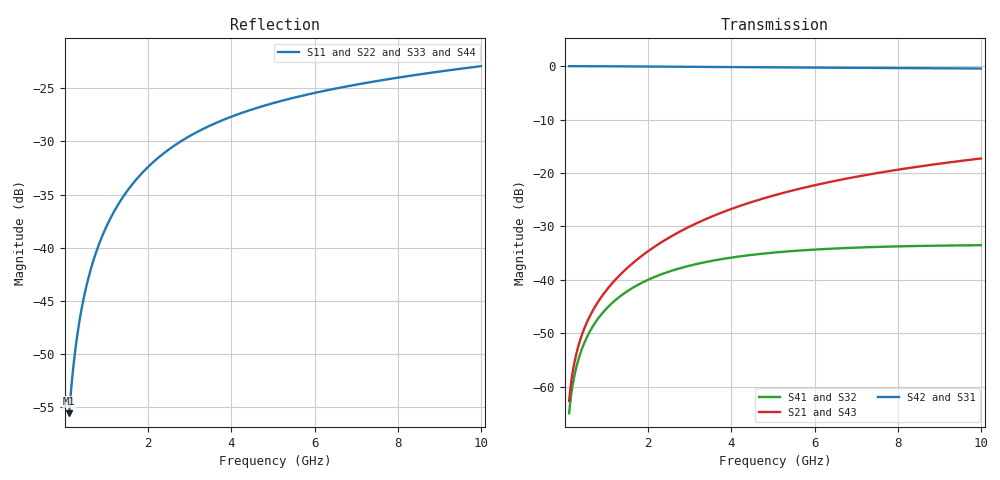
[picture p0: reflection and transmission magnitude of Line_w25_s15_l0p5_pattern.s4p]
! TOUCHSTONE file generated by CST MICROWAVE STUDIO
! Date and time: Fri Oct 24 14:29:36 2014
! Project name: Untitled_0.cst
# GHZ S MA R 50
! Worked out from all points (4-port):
!   1001 points, 100 MHz to 10 GHz, reference 50 ohm
!   strongest paths, dB at 100 MHz, 2.575 GHz, 5.05 GHz, 7.525 GHz, 10 GHz:
!     S42: 0.0, -0.1, -0.2, -0.3, -0.4
!     S31: 0.0, -0.1, -0.2, -0.3, -0.4
!     S21: -62.7, -31.8, -24.1, -20.0, -17.3
!     S43: -62.7, -31.8, -24.1, -20.0, -17.3
!     S41: -65.0, -38.3, -34.9, -33.8, -33.5
!     S32: -65.0, -38.3, -34.9, -33.8, -33.5
!   lowest |S11| = -55.6 dB at 100 MHz (marker M1), VSWR 1.00, Z = 50.1 - j0.125 ohm
!   |S11| at or under -10 dB: start of sweep to end of sweep
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0.1  0.001657 -48.8  0.0007366 91.3  0.9989 -0.3  0.0005639 -92.4
     0.0007366 91.3  0.001657 -48.8  0.0005639 -92.4  0.9989 -0.3
     0.9989 -0.3  0.0005639 -92.4  0.001657 -48.8  0.0007366 91.3
     0.0005639 -92.4  0.9989 -0.3  0.0007366 91.3  0.001657 -48.8
0.3574  0.004615 -78.3  0.002669 94.5  0.9985 -1.0  0.001983 -97.5
        0.002669 94.5  0.004615 -78.3  0.001983 -97.5  0.9985 -1.0
        0.9985 -1.0  0.001983 -97.5  0.004615 -78.3  0.002669 94.5
        0.001983 -97.5  0.9985 -1.0  0.002669 94.5  0.004615 -78.3
0.8029  0.01017 -90.2  0.006287 98.8  0.9972 -2.1  0.004377 -105.7
        0.006287 98.8  0.01017 -90.2  0.004377 -105.7  0.9972 -2.1
        0.9972 -2.1  0.004377 -105.7  0.01018 -90.2  0.006286 98.7
        0.004377 -105.7  0.9972 -2.1  0.006286 98.7  0.01018 -90.2
1.5256  0.01881 -100.0  0.01322 102.8  0.9941 -4.0  0.007952 -118.8
        0.01322 102.8  0.01881 -100.0  0.007952 -118.8  0.9941 -4.0
        0.9941 -4.0  0.007952 -118.8  0.01881 -100.0  0.01321 102.8
        0.007952 -118.8  0.9941 -4.0  0.01321 102.8  0.01881 -100.0
2.5552  0.02952 -109.6  0.02552 103.7  0.9881 -6.5  0.01213 -135.9
        0.02552 103.7  0.02953 -109.6  0.01213 -135.9  0.9881 -6.5
        0.9881 -6.5  0.01213 -135.9  0.02953 -109.6  0.02552 103.7
        0.01213 -135.9  0.9881 -6.5  0.02552 103.7  0.02953 -109.5
5.4757  0.05064 -125.4  0.06865 94.9  0.9708 -13.0  0.01861 -174.6
        0.06865 94.9  0.05067 -125.4  0.0186 -174.6  0.9708 -13.0
        0.9708 -13.0  0.0186 -174.6  0.05068 -125.4  0.06864 94.9
        0.01861 -174.6  0.9708 -13.0  0.06864 94.9  0.05069 -125.3
10  0.07153 -137.2  0.1367 79.6  0.9499 -22.4  0.02109 142.6
    0.1367 79.6  0.07161 -137.2  0.02108 142.6  0.9499 -22.4
    0.9499 -22.4  0.02108 142.6  0.07165 -137.3  0.1367 79.6
    0.02109 142.6  0.9499 -22.4  0.1367 79.6  0.0717 -137.2
